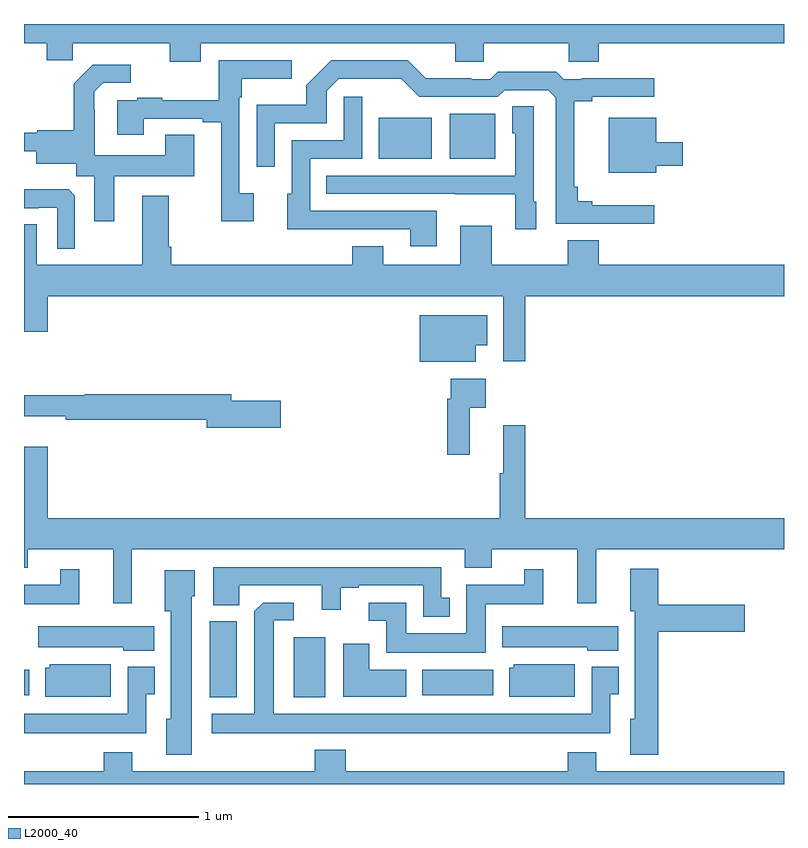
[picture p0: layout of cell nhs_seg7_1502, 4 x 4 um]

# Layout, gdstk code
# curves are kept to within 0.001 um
import gdstk
lib = gdstk.Library(unit=1e-6, precision=1e-09)
def R(c, l, rs):  # rectangles x0, y0, x1, y1
    for r in rs: c.add(gdstk.rectangle(r[:2], r[2:], *l))
def P(c, l, *ps):  # polygons
    for p in ps: c.add(gdstk.Polygon(p, *l))
L2000_40 = (2000, 40)

nhs_seg7_1502 = lib.new_cell('nhs_seg7_1502')
R(nhs_seg7_1502, L2000_40, [(213.977,1046.456,214.12,1046.857), (214.421,1046.456,214.585,1046.773), (213,1046.468,213.028,1046.602), (215.096,1046.468,215.47,1046.602), (214.868,1049.291,215.146,1049.506), (215.24,1049.291,215.479,1049.527)])
P(nhs_seg7_1502, L2000_40, [(213.931,1049.9),(215.27,1049.9),(215.27,1049.802),(215.421,1049.802),(215.421,1049.9),(215.866,1049.9),(215.866,1049.802),(216.026,1049.802),(216.026,1049.9),(217,1049.9),(217,1050),(213,1050),(213,1049.9),(213.119,1049.9),(213.119,1049.81),(213.257,1049.81),(213.257,1049.9),(213.767,1049.9),(213.767,1049.801),(213.931,1049.801)],
  [(216.316,1049.047),(215.992,1049.047),(215.992,1049.066),(215.915,1049.066),(215.915,1049.143),(215.897,1049.143),(215.897,1049.594),(215.992,1049.594),(215.992,1049.616),(216.316,1049.616),(216.316,1049.714),(215.935,1049.714),(215.935,1049.709),(215.841,1049.709),(215.801,1049.749),(215.494,1049.749),(215.454,1049.709),(215.354,1049.709),(215.354,1049.714),(215.114,1049.714),(215.019,1049.808),(214.616,1049.808),(214.486,1049.678),(214.486,1049.575),(214.224,1049.575),(214.224,1049.25),(214.32,1049.25),(214.32,1049.478),(214.593,1049.478),(214.593,1049.649),(214.656,1049.712),(214.985,1049.711),(215.079,1049.616),(215.493,1049.616),(215.529,1049.652),(215.76,1049.652),(215.799,1049.613),(215.799,1048.95),(216.316,1048.95)],
  [(214.21,1049.11),(214.134,1049.11),(214.134,1049.615),(214.147,1049.615),(214.147,1049.711),(214.408,1049.711),(214.408,1049.808),(214.026,1049.808),(214.026,1049.6),(213.727,1049.6),(213.727,1049.611),(213.595,1049.611),(213.595,1049.598),(213.491,1049.598),(213.491,1049.418),(213.631,1049.418),(213.631,1049.502),(213.941,1049.502),(213.941,1049.484),(214.037,1049.484),(214.037,1048.962),(214.21,1048.962)],
  [(213.475,1049.198),(213.895,1049.198),(213.895,1049.417),(213.743,1049.417),(213.743,1049.308),(213.372,1049.308),(213.372,1049.549),(213.37,1049.549),(213.37,1049.644),(213.417,1049.691),(213.562,1049.691),(213.562,1049.785),(213.361,1049.785),(213.261,1049.685),(213.261,1049.44),(213.069,1049.44),(213.069,1049.427),(213,1049.427),(213,1049.331),(213.065,1049.331),(213.065,1049.264),(213.276,1049.264),(213.276,1049.2),(213.371,1049.2),(213.371,1048.962),(213.475,1048.962)],
  [(215.173,1049.016),(214.506,1049.016),(214.506,1049.292),(214.779,1049.292),(214.779,1049.617),(214.683,1049.617),(214.683,1049.388),(214.41,1049.388),(214.41,1049.106),(214.385,1049.106),(214.385,1048.919),(214.603,1048.919),(214.603,1048.92),(215.033,1048.92),(215.033,1048.83),(215.173,1048.83)],
  [(215.695,1049.064),(215.682,1049.064),(215.682,1049.567),(215.57,1049.567),(215.57,1049.424),(215.586,1049.424),(215.586,1049.202),(214.591,1049.202),(214.591,1049.106),(215.269,1049.106),(215.269,1049.105),(215.586,1049.105),(215.586,1048.92),(215.695,1048.92)],
  [(216.328,1049.255),(216.466,1049.255),(216.466,1049.377),(216.328,1049.377),(216.328,1049.506),(216.077,1049.506),(216.077,1049.216),(216.328,1049.216)],
  [(213.267,1049.097),(213.235,1049.129),(213,1049.129),(213,1049.031),(213.074,1049.031),(213.074,1049.034),(213.174,1049.034),(213.174,1048.817),(213.267,1048.817)],
  [(215.639,1048.568),(217,1048.568),(217,1048.732),(216.025,1048.732),(216.025,1048.861),(215.861,1048.861),(215.861,1048.732),(215.461,1048.732),(215.461,1048.939),(215.297,1048.939),(215.297,1048.732),(214.891,1048.732),(214.891,1048.831),(214.727,1048.831),(214.727,1048.732),(213.776,1048.732),(213.776,1048.828),(213.763,1048.828),(213.763,1049.095),(213.623,1049.095),(213.623,1048.732),(213.066,1048.732),(213.066,1048.946),(213,1048.946),(213,1048.38),(213.124,1048.38),(213.124,1048.568),(215.523,1048.568),(215.523,1048.224),(215.639,1048.224)],
  [(215.377,1048.31),(215.438,1048.31),(215.438,1048.468),(215.084,1048.468),(215.084,1048.223),(215.377,1048.223)],
  [(215.345,1047.98),(215.431,1047.98),(215.431,1048.132),(215.247,1048.132),(215.247,1048.028),(215.227,1048.028),(215.227,1047.732),(215.345,1047.732)],
  [(214.351,1048.016),(214.09,1048.016),(214.09,1048.052),(213.32,1048.052),(213.32,1048.045),(213,1048.045),(213,1047.935),(213.22,1047.935),(213.22,1047.916),(213.962,1047.916),(213.962,1047.874),(214.351,1047.874)],
  [(213.568,1047.236),(215.321,1047.236),(215.321,1047.137),(215.461,1047.137),(215.461,1047.236),(215.912,1047.236),(215.912,1046.952),(216.011,1046.952),(216.011,1047.236),(217,1047.236),(217,1047.4),(215.639,1047.4),(215.639,1047.889),(215.522,1047.889),(215.522,1047.636),(215.503,1047.636),(215.503,1047.4),(213.124,1047.4),(213.124,1047.775),(213,1047.775),(213,1047.137),(213.019,1047.137),(213.019,1047.236),(213.47,1047.236),(213.47,1046.952),(213.568,1046.952)],
  [(215.242,1046.979),(215.196,1046.979),(215.196,1047.141),(213.995,1047.141),(213.995,1046.942),(214.134,1046.942),(214.134,1047.045),(214.568,1047.045),(214.568,1046.916),(214.666,1046.916),(214.666,1047.033),(214.762,1047.033),(214.762,1047.045),(215.1,1047.045),(215.1,1046.879),(215.242,1046.879)],
  [(216.338,1046.801),(216.793,1046.801),(216.793,1046.943),(216.338,1046.943),(216.338,1047.133),(216.191,1047.133),(216.191,1046.91),(216.215,1046.91),(216.215,1046.343),(216.191,1046.343),(216.191,1046.153),(216.338,1046.153)],
  [(213.29,1047.13),(213.191,1047.13),(213.191,1047.049),(213,1047.049),(213,1046.945),(213.29,1046.945)],
  [(215.431,1046.945),(215.732,1046.945),(215.732,1047.13),(215.633,1047.13),(215.633,1047.049),(215.327,1047.049),(215.327,1046.794),(215.011,1046.794),(215.011,1046.955),(214.815,1046.955),(214.815,1046.859),(214.907,1046.859),(214.907,1046.69),(215.431,1046.69)],
  [(213.883,1046.988),(213.898,1046.988),(213.898,1047.124),(213.74,1047.124),(213.74,1046.91),(213.773,1046.91),(213.773,1046.343),(213.749,1046.343),(213.749,1046.153),(213.883,1046.153)],
  [(216.085,1046.473),(216.13,1046.473),(216.13,1046.617),(215.988,1046.617),(215.988,1046.371),(214.315,1046.371),(214.315,1046.862),(214.42,1046.862),(214.42,1046.955),(214.258,1046.955),(214.212,1046.909),(214.211,1046.371),(213.987,1046.371),(213.987,1046.267),(216.085,1046.267)],
  [(216.127,1046.83),(215.516,1046.83),(215.516,1046.72),(215.964,1046.72),(215.964,1046.702),(216.127,1046.702)],
  [(213.685,1046.83),(213.074,1046.83),(213.074,1046.72),(213.522,1046.72),(213.522,1046.702),(213.685,1046.702)],
  [(215.011,1046.602),(214.816,1046.602),(214.816,1046.737),(214.679,1046.737),(214.679,1046.459),(215.011,1046.459)],
  [(215.899,1046.629),(215.577,1046.629),(215.577,1046.613),(215.555,1046.613),(215.555,1046.459),(215.899,1046.459)],
  [(213.457,1046.629),(213.135,1046.629),(213.135,1046.613),(213.113,1046.613),(213.113,1046.459),(213.457,1046.459)],
  [(213.643,1046.473),(213.688,1046.473),(213.688,1046.617),(213.546,1046.617),(213.546,1046.371),(213,1046.371),(213,1046.267),(213.643,1046.267)],
  [(217,1046.068),(216.013,1046.068),(216.013,1046.167),(215.861,1046.167),(215.861,1046.068),(214.694,1046.068),(214.694,1046.179),(214.529,1046.179),(214.529,1046.068),(213.571,1046.068),(213.571,1046.167),(213.419,1046.167),(213.419,1046.068),(213,1046.068),(213,1046),(217,1046)])

lib.write_gds('nhs_seg7_1502.gds')
